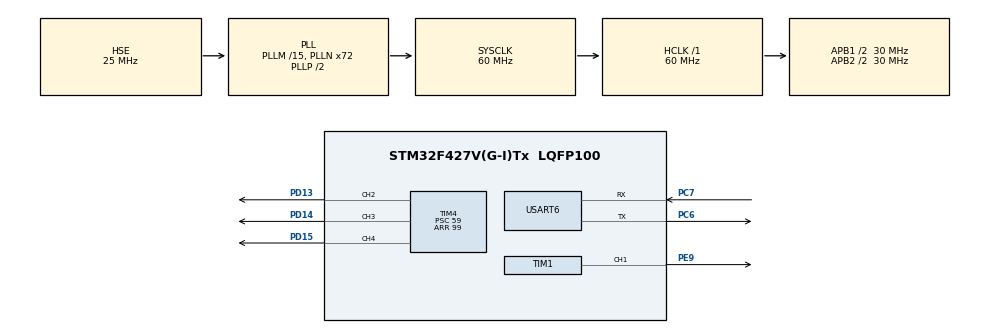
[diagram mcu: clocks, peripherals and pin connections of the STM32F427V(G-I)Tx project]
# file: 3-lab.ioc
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Mcu.Family=STM32F4
Mcu.Name=STM32F427V(G-I)Tx
Mcu.Package=LQFP100
NVIC.PriorityGroup=NVIC_PRIORITYGROUP_4
NVIC.TIM6_DAC_IRQn=true\:0\:0\:false\:false\:true\:true\:true\:true
PA13.Mode=JTAG_5_pins
PA13.Signal=SYS_JTMS-SWDIO
PA14.Mode=JTAG_5_pins
PA14.Signal=SYS_JTCK-SWCLK
PA15.Mode=JTAG_5_pins
PA15.Signal=SYS_JTDI
PB3.Mode=JTAG_5_pins
PB3.Signal=SYS_JTDO-SWO
PB4.Mode=JTAG_5_pins
PB4.Signal=SYS_JTRST
PC6.Mode=Asynchronous
PC6.Signal=USART6_TX
PC7.Mode=Asynchronous
PC7.Signal=USART6_RX
PD13.Signal=S_TIM4_CH2
PD14.Signal=S_TIM4_CH3
PD15.Signal=S_TIM4_CH4
PE9.Signal=S_TIM1_CH1
PH0/OSC_IN.Mode=HSE-External-Oscillator
PH0/OSC_IN.Signal=RCC_OSC_IN
PH1/OSC_OUT.Mode=HSE-External-Oscillator
PH1/OSC_OUT.Signal=RCC_OSC_OUT
ProjectManager.HeapSize=0x200
ProjectManager.StackSize=0x400
ProjectManager.TargetToolchain=STM32CubeIDE
RCC.48MHZClocksFreq_Value=30000000
RCC.AHBFreq_Value=60000000
RCC.APB1CLKDivider=RCC_HCLK_DIV2
RCC.APB1Freq_Value=30000000
RCC.APB1TimFreq_Value=60000000
RCC.APB2CLKDivider=RCC_HCLK_DIV2
RCC.APB2Freq_Value=30000000
RCC.APB2TimFreq_Value=60000000
RCC.CortexFreq_Value=60000000
RCC.HCLKFreq_Value=60000000
RCC.HSE_VALUE=25000000
RCC.HSI_VALUE=16000000
RCC.LSE_VALUE=32768
RCC.PLLM=15
RCC.PLLN=72
RCC.PLLSourceVirtual=RCC_PLLSOURCE_HSE
RCC.SYSCLKFreq_VALUE=60000000
RCC.SYSCLKSource=RCC_SYSCLKSOURCE_PLLCLK
RCC.VCOOutputFreq_Value=120000000
SH.S_TIM1_CH1.0=TIM1_CH1,PWM Generation1 CH1
SH.S_TIM4_CH2.0=TIM4_CH2,PWM Generation2 CH2
SH.S_TIM4_CH3.0=TIM4_CH3,PWM Generation3 CH3
SH.S_TIM4_CH4.0=TIM4_CH4,PWM Generation4 CH4
TIM1.Channel-PWM\ Generation1\ CH1=TIM_CHANNEL_1
TIM1.Period=0
TIM1.Prescaler=59
TIM1.Pulse-PWM\ Generation1\ CH1=32769
TIM4.Channel-PWM\ Generation2\ CH2=TIM_CHANNEL_2
TIM4.Channel-PWM\ Generation3\ CH3=TIM_CHANNEL_3
TIM4.Channel-PWM\ Generation4\ CH4=TIM_CHANNEL_4
TIM4.Period=99
TIM4.Prescaler=59
TIM6.Period=0
TIM6.Prescaler=59999
USART6.VirtualMode=VM_ASYNC
VP_TIM6_VS_ClockSourceINT.Mode=Enable_Timer
board=custom

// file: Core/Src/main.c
/* USER CODE BEGIN Header */
/**
  ******************************************************************************
  * @file           : main.c
  * @brief          : Main program body
  ******************************************************************************
  * @attention
  *
  * Copyright (c) 2024 STMicroelectronics.
  * All rights reserved.
  *
  * This software is licensed under terms that can be found in the LICENSE file
  * in the root directory of this software component.
  * If no LICENSE file comes with this software, it is provided AS-IS.
  *
  ******************************************************************************
  */
/* USER CODE END Header */
#include "main.h"
#include "tim.h"
#include "usart.h"
#include "gpio.h"

/* USER CODE BEGIN Includes */
#include "stdio.h"
#include "stdbool.h"
#include "string.h"
/* USER CODE END Includes */

/* USER CODE BEGIN PTD */
typedef enum {
	GREEN = 0,
	YELLOW,
	RED
} LED;

typedef enum {
	LOW = 20,
	MEDIUM = 50,
	HIGH = 100
} LEDBrightness;

typedef struct {
	LED led;
	LEDBrightness brightness;
	uint32_t frequency;
} Note;

typedef enum {
	INFO = 0,
	PLAY
} GameMode;

typedef enum {
	ALL = 0,
	LED_ONLY,
	SOUND_ONLY
} NoteMode;

typedef enum {
	EASY = 3,
	NORMAL = 2,
	HARD = 1
} Difficulty;
/* USER CODE END PTD */

/* USER CODE BEGIN PD */
#define CLOCK_SCALED_FREQUENCY	1000000		// frequency after scaling with PSC (supposed to be same on every timer in use)
#define LED_PWM_FREQUENCY		500
#define ENTER_ASCII				'\r'
/* USER CODE END PD */

/* USER CODE BEGIN PV */
uint16_t led_arr_value = CLOCK_SCALED_FREQUENCY / LED_PWM_FREQUENCY;

char newline[] = "\r\n";

char game_started_msg[] = "\n\rGame started!\n\r";
char game_finished_msg[] = "\n\rGame finished\n\r";

char note_mode_all_msg[] = "\n\rCurrent note mode: all\n\r";
char note_mode_led_msg[] = "\n\rCurrent note mode: led only\n\r";
char note_mode_sound_msg[] = "\n\rCurrent note mode: sound only\n\r";

char difficulty_easy_msg[] = "\n\rCurrent difficulty: easy\n\r";
char difficulty_normal_msg[] = "\n\rCurrent difficulty: normal\n\r";
char difficulty_hard_msg[] = "\n\rCurrent difficulty: hard\n\r";

char countdown_prepare_msg[] = "\n\rPrepare yourself!\n\r";
char countdown_3_msg[] = "\n\rStarting in 3...\n\r";
char countdown_2_msg[] = "\n\rStarting in 2...\n\r";
char countdown_1_msg[] = "\n\rStarting in 1...\n\r";

char guess_note_msg[] = "Guess the note: ";

bool game_started = false;

Difficulty difficulty = EASY;

char buf_char[2] = {'\0', '\0'};

GameMode game_mode = INFO;
NoteMode note_mode = ALL;

Note notes[] = {
		{GREEN,		LOW,		100},
		{GREEN,		MEDIUM,		200},
		{GREEN,		HIGH,		300},
		{YELLOW,	LOW,		400},
		{YELLOW,	MEDIUM,		500},
		{YELLOW,	HIGH,		600},
		{RED,		LOW,		700},
		{RED,		MEDIUM,		800},
		{RED,		HIGH,		900}
};

uint8_t note_sequence_length = 20;
uint8_t note_sequence[] = {1, 2, 3, 4, 5, 6, 7, 8, 9, 1, 2, 3, 4, 5, 6, 7, 8, 9, 1, 2};
bool guess_status[] = {false, false, false, false, false, false, false, false, false, false, false, false, false, false, false, false, false, false, false, false};
uint8_t cur_note_ptr = 0;
uint8_t cur_guess = 0;

void init_led_pwm(void) {
	htim4.Instance->ARR = led_arr_value;
}

/* USER CODE END PV */

void SystemClock_Config(void);

/* USER CODE BEGIN 0 */
extern void initialise_monitor_handles(void);

bool is_digit(char *c) {
	return '1' <= *c && *c <= '9';
}

void uart_write(char *data) {
	uint16_t size = strlen(data);
	HAL_UART_Transmit(&huart6, (uint8_t *) data, size, 100);
}

void uart_write_newline(void) {
	uart_write(newline);
}

bool process_char(char *c) {
	if (is_digit(&c[0]) || ENTER_ASCII == c[0])
		return true;
	if (('a' == c[0] || '+' == c[0]) && game_mode == INFO)
		return true;
	c[0] = '\0';
	return false;
}

void uart_read_char(void) {
	HAL_StatusTypeDef status = HAL_UART_Receive(&huart6, (uint8_t *) buf_char, sizeof(char), 100);
	if (HAL_OK == status && process_char(buf_char))
		uart_write(buf_char);
}

void play_sound(uint32_t *frequency) {
	htim1.Instance->ARR = (1000000 / (*frequency)) - 1; // Set The PWM Frequency
	htim1.Instance->CCR1 = (htim1.Instance->ARR >> 1); // Set Duty Cycle 50%
//	printf("ARR = %lu | F = %lu\n", htim1.Instance->ARR, 60000000 / (htim1.Instance->PSC + 1) / (htim1.Instance->ARR + 1));
}

void mute(void) {
	htim1.Instance->CCR1 = 0;
}

void disable_all_leds(void) {
	htim4.Instance->CCR2 = 0;
	htim4.Instance->CCR3 = 0;
	htim4.Instance->CCR4 = 0;
}

void light_led(LED *led, LEDBrightness *brightness) {
	disable_all_leds();
	uint16_t ccr_value = CLOCK_SCALED_FREQUENCY / LED_PWM_FREQUENCY * (*brightness) / 100;
	switch (*led) {
		case GREEN:
			htim4.Instance->CCR2 = ccr_value;
			break;
		case YELLOW:
			htim4.Instance->CCR3 = ccr_value;
			break;
		case RED:
			htim4.Instance->CCR4 = ccr_value;
			break;
	}
}

void play_note(Note *note) {
	switch (note_mode) {
		case ALL:
			play_sound(&note->frequency);
			light_led(&note->led, &note->brightness);
			break;
		case LED_ONLY:
			light_led(&note->led, &note->brightness);
			break;
		case SOUND_ONLY:
			play_sound(&note->frequency);
			break;
	}
}

void stop_note(void) {
	mute();
	disable_all_leds();
}

void uart_write_note_info(Note *note) {
	char buf[256];
	char *colour = note->led == GREEN ? "green" : (note->led == YELLOW ? "yellow" : "red");
	uint8_t brightness = note->brightness == LOW ? 20 : (note->brightness == MEDIUM ? 50 : 100);

	sprintf(buf, "\n\rNote colour: %s\n\rNote brightness: %d\n\rNote frequency: %lu\n\r", colour, brightness, note->frequency);

	uart_write(buf);
}

void countdown_start_game(void) {
	uart_write(countdown_prepare_msg);
	uart_write(countdown_3_msg);
	HAL_Delay(1000);
	uart_write(countdown_2_msg);
	HAL_Delay(1000);
	uart_write(countdown_1_msg);
	HAL_Delay(1000);
}

void stop_timer(void) {
	HAL_TIM_Base_Stop_IT(&htim6);
	htim6.Instance->ARR = 0;
}

void set_timer_ms(uint32_t ms) {
	htim6.Instance->ARR = ms - 1;
	HAL_TIM_Base_Start_IT(&htim6);
}

void finish_game(void) {
	stop_timer();
	stop_note();

	uart_write_newline();
	uart_write(game_finished_msg);

	char buf[256];
	uint8_t points = 0;
	for (uint8_t i = 0; i < note_sequence_length; i++) {
		sprintf(buf, "Note %d: %s\n\r", i + 1, guess_status[i] ? "correct" : "wrong");
		uart_write(buf);
		points += (guess_status[i] * (4 - difficulty));

		guess_status[i] = false;
	}

	sprintf(buf, "Your score: %d\n\r", points);
	uart_write(buf);

	cur_note_ptr = 0;
	cur_guess = 0;
	game_started = false;
}

void switch_game_mode(void) {
	switch (game_mode) {
		case INFO:
			game_mode = PLAY;
			countdown_start_game();
			uart_write(game_started_msg);
			uart_write(guess_note_msg);
			play_note(&notes[note_sequence[cur_note_ptr] - 1]);
			set_timer_ms(difficulty * 1000);
			break;
		case PLAY:
			game_mode = INFO;
			if (cur_note_ptr < note_sequence_length && cur_guess == note_sequence[cur_note_ptr])
				guess_status[cur_note_ptr] = true;
			finish_game();
			break;
	}
}

void switch_note_mode(void) {
	stop_note();
	switch (note_mode) {
		case ALL:
			note_mode = LED_ONLY;
			uart_write(note_mode_led_msg);
			break;
		case LED_ONLY:
			note_mode = SOUND_ONLY;
			uart_write(note_mode_sound_msg);
			break;
		case SOUND_ONLY:
			note_mode = ALL;
			uart_write(note_mode_all_msg);
			break;
	}
}

void switch_difficulty(void) {
	switch (difficulty) {
		case EASY:
			difficulty= NORMAL;
			uart_write(difficulty_normal_msg);
			break;
		case NORMAL:
			difficulty= HARD;
			uart_write(difficulty_hard_msg);
			break;
		case HARD:
			difficulty= EASY;
			uart_write(difficulty_easy_msg);
			break;
	}
}

void HAL_TIM_PeriodElapsedCallback(TIM_HandleTypeDef *htim) {
	if (htim->Instance == TIM6) {
		if (game_mode == INFO) {
			printf("INFO CALLBACK\n");
			stop_note();
			stop_timer();
			return;
		}

		printf("GAME CALLBACK\n");
		if (!game_started) {
			game_started = true;
			return;
		}

		if (cur_guess == note_sequence[cur_note_ptr])
			guess_status[cur_note_ptr] = true;

		cur_guess = 0;
		cur_note_ptr++;

		if (cur_note_ptr == note_sequence_length) {
			switch_game_mode();
		} else {
			uart_write_newline();
			uart_write(guess_note_msg);
			play_note(&notes[note_sequence[cur_note_ptr] - 1]);
		}
	}
}

/* USER CODE END 0 */

int main(void)
{
  /* USER CODE BEGIN 1 */
	initialise_monitor_handles();
  /* USER CODE END 1 */

  /* MCU Configuration--------------------------------------------------------*/

  /* Reset of all peripherals, Initializes the Flash interface and the Systick. */
  HAL_Init();

  /* Configure the system clock */
  SystemClock_Config();

  /* Initialize all configured peripherals */
  MX_GPIO_Init();
  MX_TIM4_Init();
  MX_TIM6_Init();
  MX_USART6_UART_Init();
  MX_TIM1_Init();

  /* Infinite loop */
  /* USER CODE BEGIN WHILE */

  HAL_TIM_PWM_Start(&htim4, TIM_CHANNEL_2);
  HAL_TIM_PWM_Start(&htim4, TIM_CHANNEL_3);
  HAL_TIM_PWM_Start(&htim4, TIM_CHANNEL_4);

  HAL_TIM_Base_Start_IT(&htim1);
  HAL_TIM_PWM_Start(&htim1, TIM_CHANNEL_1);

  init_led_pwm();
  stop_timer();

  while (1)
  {
	  buf_char[0] = '\0';
	  uart_read_char();
	  if (buf_char[0] == '\0')
		  continue;

	  if (buf_char[0] == ENTER_ASCII) {
		  switch_game_mode();
		  continue;
	  }

	  if (is_digit(&buf_char[0])) {
		  if (game_mode == INFO) {
			  uint8_t id = buf_char[0] - '0' - 1;
			  play_note(&notes[id]);
			  uart_write_note_info(&notes[id]);

//			  stop_timer();
			  set_timer_ms(1000);
		  } else {
			  cur_guess = buf_char[0] - '0';
		  }
		  continue;
	  }

	  if (buf_char[0] == 'a' && game_mode == INFO) {
		  switch_note_mode();
		  continue;
	  }

	  if (buf_char[0] == '+' && game_mode == INFO) {
		  switch_difficulty();
		  continue;
	  }

    /* USER CODE END WHILE */

  }
}

void SystemClock_Config(void)
{
  RCC_OscInitTypeDef RCC_OscInitStruct = {0};
  RCC_ClkInitTypeDef RCC_ClkInitStruct = {0};

  /** Configure the main internal regulator output voltage
  */
  __HAL_RCC_PWR_CLK_ENABLE();
  __HAL_PWR_VOLTAGESCALING_CONFIG(PWR_REGULATOR_VOLTAGE_SCALE3);

  /** Initializes the RCC Oscillators according to the specified parameters
  * in the RCC_OscInitTypeDef structure.
  */
  RCC_OscInitStruct.OscillatorType = RCC_OSCILLATORTYPE_HSE;
  RCC_OscInitStruct.HSEState = RCC_HSE_ON;
  RCC_OscInitStruct.PLL.PLLState = RCC_PLL_ON;
  RCC_OscInitStruct.PLL.PLLSource = RCC_PLLSOURCE_HSE;
  RCC_OscInitStruct.PLL.PLLM = 15;
  RCC_OscInitStruct.PLL.PLLN = 72;
  RCC_OscInitStruct.PLL.PLLP = RCC_PLLP_DIV2;
  RCC_OscInitStruct.PLL.PLLQ = 4;
  if (HAL_RCC_OscConfig(&RCC_OscInitStruct) != HAL_OK)
  {
    Error_Handler();
  }

  /** Initializes the CPU, AHB and APB buses clocks
  */
  RCC_ClkInitStruct.ClockType = RCC_CLOCKTYPE_HCLK|RCC_CLOCKTYPE_SYSCLK
                              |RCC_CLOCKTYPE_PCLK1|RCC_CLOCKTYPE_PCLK2;
  RCC_ClkInitStruct.SYSCLKSource = RCC_SYSCLKSOURCE_PLLCLK;
  RCC_ClkInitStruct.AHBCLKDivider = RCC_SYSCLK_DIV1;
  RCC_ClkInitStruct.APB1CLKDivider = RCC_HCLK_DIV2;
  RCC_ClkInitStruct.APB2CLKDivider = RCC_HCLK_DIV2;

  if (HAL_RCC_ClockConfig(&RCC_ClkInitStruct, FLASH_LATENCY_1) != HAL_OK)
  {
    Error_Handler();
  }
}

void Error_Handler(void)
{
  __disable_irq();
  while (1)
  {
  }
}
